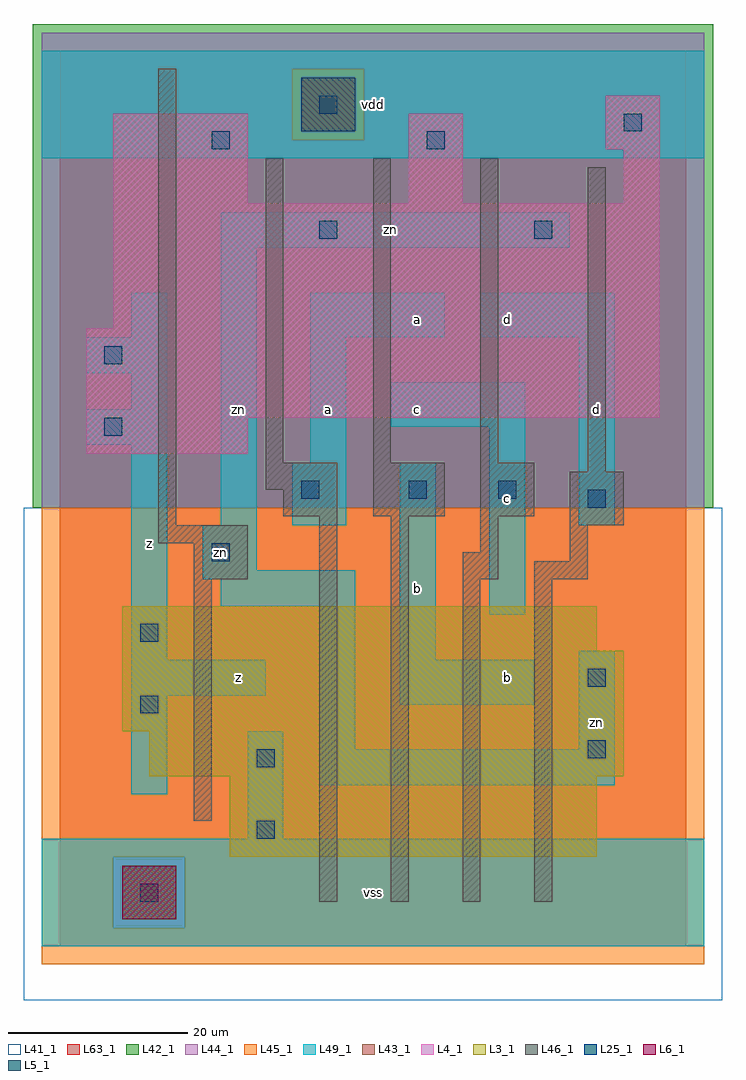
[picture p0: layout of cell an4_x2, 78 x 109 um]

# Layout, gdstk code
import gdstk
lib = gdstk.Library(unit=1e-6, precision=1e-09)
def R(c, l, rs):  # rectangles x0, y0, x1, y1
    for r in rs: c.add(gdstk.rectangle(r[:2], r[2:], *l))
def A(c, l, x, y, w, h, nx, ny, dx, dy):  # array of equal rectangles
    R(c, l, [(x+i*dx, y+j*dy, x+i*dx+w, y+j*dy+h) for i in range(nx) for j in range(ny)])
L3_1 = (3, 1)
L4_1 = (4, 1)
L5_1 = (5, 1)
L6_1 = (6, 1)
L25_1 = (25, 1)
L41_1 = (41, 1)
L42_1 = (42, 1)
L43_1 = (43, 1)
L44_1 = (44, 1)
L45_1 = (45, 1)
L46_1 = (46, 1)
L49_1 = (49, 1)
L63_1 = (63, 1)

an4_x2 = lib.new_cell('an4_x2')
R(an4_x2, L3_1, [(19,10,60,19), (10,19,63,24), (7,24,63,33), (7,33,60,38)])
R(an4_x2, L4_1, [(3,55,21,59), (3,59,67,69), (6,69,67,83), (6,83,21,93), (39,83,45,93), (63,83,67,89), (61,89,67,95)])
R(an4_x2, L5_1, [(27,91,33,97)])
R(an4_x2, L6_1, [(7,3,13,9)])
R(an4_x2, L25_1, [(9,5,11,7), (22,12,24,14), (22,20,24,22), (59,21,61,23), (9,26,11,28), (59,29,61,31), (9,34,11,36), (17,43,19,45), (59,49,61,51), (27,50,29,52), (39,50,41,52), (49,50,51,52), (5,57,7,59), (5,65,7,67), (29,79,31,81), (53,79,55,81), (17,89,19,91), (41,89,43,91), (63,91,65,93), (29,93,31,95)])
R(an4_x2, L41_1, [(-4,-6,74,49), (-3,-3,73,49)])
R(an4_x2, L42_1, [(-3,49,73,103)])
R(an4_x2, L43_1, [(7,3,13,9), (19,10,60,19), (10,19,63,24), (7,24,63,33), (7,33,60,38), (3,55,21,59), (3,59,67,69), (6,69,67,83), (6,83,21,93), (39,83,45,93), (63,83,67,89), (61,89,67,95), (27,91,33,97)])
R(an4_x2, L44_1, [(6,2,14,10), (-2,49,72,90), (-2,90,26,98), (34,90,72,98), (-2,98,72,102)])
R(an4_x2, L45_1, [(-2,-2,72,2), (-2,2,6,10), (14,2,72,10), (-2,10,72,49), (26,90,34,98)])
A(an4_x2, L46_1, 23, 54, 2, 34, 3, 1, 12, 0)
R(an4_x2, L46_1, [(29,5,31,48), (37,5,39,48), (45,5,47,41), (53,5,55,41), (15,14,17,41), (15,41,21,45), (45,41,49,44), (53,41,59,43), (57,43,59,47), (47,44,49,48), (11,45,21,47), (11,47,13,98), (57,47,63,53), (25,48,31,51), (35,48,43,54), (47,48,53,54), (23,51,31,54), (59,53,61,87)])
R(an4_x2, L49_1, [(-2,0,72,12), (21,12,25,24), (8,17,12,28), (29,18,62,22), (29,22,33,38), (58,22,62,33), (38,27,53,32), (8,28,23,32), (8,32,12,56), (38,32,42,54), (48,37,52,58), (18,38,33,41), (16,41,33,42), (16,42,22,47), (18,47,22,78), (26,47,32,54), (58,47,62,68), (28,54,32,68), (3,56,12,60), (37,58,52,63), (8,60,12,64), (3,64,12,68), (8,68,12,73), (28,68,43,73), (47,68,62,73), (18,78,57,82), (-2,88,72,100)])
R(an4_x2, L63_1, [(0,0,70,100)])
an4_x2.add(gdstk.Label('zn', (18,44), layer=49, texttype=1))
an4_x2.add(gdstk.Label('z', (20,30), layer=49, texttype=1))
an4_x2.add(gdstk.Label('z', (20,30), layer=49, texttype=1))
an4_x2.add(gdstk.Label('z', (10,45), layer=49, texttype=1))
an4_x2.add(gdstk.Label('z', (10,45), layer=49, texttype=1))
an4_x2.add(gdstk.Label('zn', (20,60), layer=49, texttype=1))
an4_x2.add(gdstk.Label('vss', (35,6), layer=49, texttype=1))
an4_x2.add(gdstk.Label('vss', (35,6), layer=49, texttype=1))
an4_x2.add(gdstk.Label('a', (30,60), layer=49, texttype=1))
an4_x2.add(gdstk.Label('a', (30,60), layer=49, texttype=1))
an4_x2.add(gdstk.Label('vdd', (35,94), layer=49, texttype=1))
an4_x2.add(gdstk.Label('vdd', (35,94), layer=49, texttype=1))
an4_x2.add(gdstk.Label('b', (50,30), layer=49, texttype=1))
an4_x2.add(gdstk.Label('b', (50,30), layer=49, texttype=1))
an4_x2.add(gdstk.Label('b', (40,40), layer=49, texttype=1))
an4_x2.add(gdstk.Label('b', (40,40), layer=49, texttype=1))
an4_x2.add(gdstk.Label('c', (50,50), layer=49, texttype=1))
an4_x2.add(gdstk.Label('c', (50,50), layer=49, texttype=1))
an4_x2.add(gdstk.Label('c', (40,60), layer=49, texttype=1))
an4_x2.add(gdstk.Label('c', (40,60), layer=49, texttype=1))
an4_x2.add(gdstk.Label('a', (40,70), layer=49, texttype=1))
an4_x2.add(gdstk.Label('a', (40,70), layer=49, texttype=1))
an4_x2.add(gdstk.Label('d', (50,70), layer=49, texttype=1))
an4_x2.add(gdstk.Label('d', (50,70), layer=49, texttype=1))
an4_x2.add(gdstk.Label('zn', (60,25), layer=49, texttype=1))
an4_x2.add(gdstk.Label('d', (60,60), layer=49, texttype=1))
an4_x2.add(gdstk.Label('d', (60,60), layer=49, texttype=1))
an4_x2.add(gdstk.Label('zn', (37,80), layer=49, texttype=1))

lib.write_gds('an4_x2.gds')
